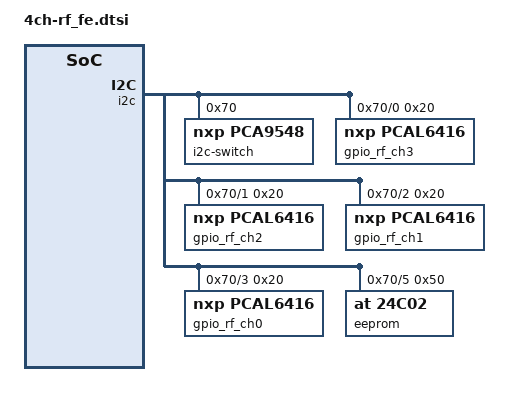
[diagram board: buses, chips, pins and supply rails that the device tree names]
&i2c {
	i2c-switch@70 { /* PCA9548APW 8-channel I2C MUX [U7] */
		compatible = "nxp,pca9548";
		reg = <0x70>;
		/* reset pulled-up to +3V3 rail */
		#address-cells = <1>;
		#size-cells = <0>;

		i2c@0 {
			#address-cells = <1>;
			#size-cells = <0>;
			reg = <0>;

			gpio_rf_ch3: gpio@20 { /* PCAL6416APW x16 GPIO expander, RF Ch 3 [U34] */
				compatible = "nxp,pcal6416";
				reg = <0x20>;
				#gpio-cells = <2>;
				gpio-controller;
				gpio-line-names = "LE_RX", "atten_0.25dB_RX", "atten_0.5dB_RX",
				"atten_1dB_RX", "atten_2dB_RX", "atten_4dB_RX", "atten_8dB_RX",
				"atten_16dB_RX", "LE_TX", "atten_0.25dB_TX", "atten_0.5dB_TX",
				"atten_1dB_TX", "atten_2dB_TX", "atten_4dB_TX", "atten_8dB_TX",
				"atten_16dB_TX";
			};
		};
		i2c@1 {
			#address-cells = <1>;
			#size-cells = <0>;
			reg = <1>;

			gpio_rf_ch2: gpio@20 { /* PCAL6416APW x16 GPIO expander, RF Ch 2 [U42] */
				compatible = "nxp,pcal6416";
				reg = <0x20>;
				#gpio-cells = <2>;
				gpio-controller;
				gpio-line-names = "LE_RX", "atten_0.25dB_RX", "atten_0.5dB_RX",
				"atten_1dB_RX", "atten_2dB_RX", "atten_4dB_RX", "atten_8dB_RX",
				"atten_16dB_RX", "LE_TX", "atten_0.25dB_TX", "atten_0.5dB_TX",
				"atten_1dB_TX", "atten_2dB_TX", "atten_4dB_TX", "atten_8dB_TX",
				"atten_16dB_TX";
			};
		};
		i2c@2 {
			#address-cells = <1>;
			#size-cells = <0>;
			reg = <2>;

			gpio_rf_ch1: gpio@20 { /* PCAL6416APW x16 GPIO expander, RF Ch 1 [U26] */
				compatible = "nxp,pcal6416";
				reg = <0x20>;
				#gpio-cells = <2>;
				gpio-controller;
				gpio-line-names = "LE_RX", "atten_0.25dB_RX", "atten_0.5dB_RX",
				"atten_1dB_RX", "atten_2dB_RX", "atten_4dB_RX", "atten_8dB_RX",
				"atten_16dB_RX", "LE_TX", "atten_0.25dB_TX", "atten_0.5dB_TX",
				"atten_1dB_TX", "atten_2dB_TX", "atten_4dB_TX", "atten_8dB_TX",
				"atten_16dB_TX";
			};
		};
		i2c@3 {
			#address-cells = <1>;
			#size-cells = <0>;
			reg = <3>;

			gpio_rf_ch0: gpio@20 { /* PCAL6416APW x16 GPIO expander, RF Ch 0 [U18] */
				compatible = "nxp,pcal6416";
				reg = <0x20>;
				#gpio-cells = <2>;
				gpio-controller;
				gpio-line-names = "LE_RX", "atten_0.25dB_RX", "atten_0.5dB_RX",
				"atten_1dB_RX", "atten_2dB_RX", "atten_4dB_RX", "atten_8dB_RX",
				"atten_16dB_RX", "LE_TX", "atten_0.25dB_TX", "atten_0.5dB_TX",
				"atten_1dB_TX", "atten_2dB_TX", "atten_4dB_TX", "atten_8dB_TX",
				"atten_16dB_TX";
			};
		};
		i2c@4 {
			#address-cells = <1>;
			#size-cells = <0>;
			reg = <4>;

			/* Currently not populated due to pinout error
			   INA219 +12V High-Side Power Monitor [U5]
			ina219@40 {
				compatible = "ti,ina219";
				reg = <0x40>;
				shunt-resistor = <2000>;
			};
			*/
		};
		i2c@5 {
			#address-cells = <1>;
			#size-cells = <0>;
			reg = <5>;

			eeprom@50 { /* M24C02-FDW 2kbit EEPROM [U8] */
				compatible = "at,24c02";
				reg = <0x50>;
			};
		};
		/* Switch ports 6 & 7 unused */
	};
};
